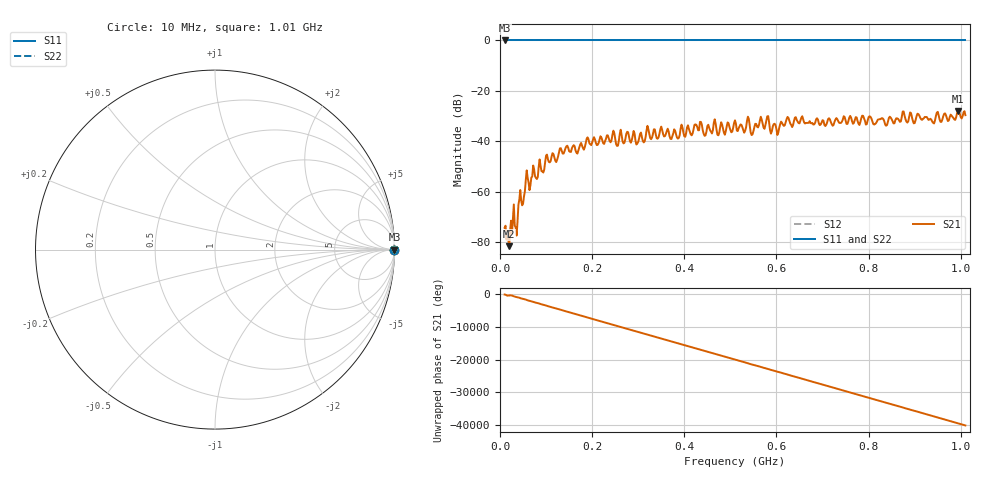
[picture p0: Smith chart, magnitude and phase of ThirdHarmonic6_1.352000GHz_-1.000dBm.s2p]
! 8/16/2025 3:13:42 PM
! C:\ANRITSUVNA\TEMP\TEMP.S2P
! CHANNEL.1
! TR.MEASUREMENT
! RAW.DATA
! RF.CORRECTION.OFF
! AVERAGING.OFF
! IF.BANDWIDTH: 5KHZ
! SWEEPTYPE:  FREQ.SWEEP(Linear)
! Reference Plane Port Info
! PORT:  PORT1  PORT2
! DISTANCE:  0  m  0  m
! TIME:  0  s  0  s
! PHASE.OFFSET:  0  deg.  0  deg.
! LOSS:  0  dB  0  dB
! REF.LOSS:  0  dB  0  dB
! REF.FREQ:  0  Hz  0  Hz
! Power Info
! POWER:  -20  dBm  -20  dBm
! EFF.POWER:  -20  dBm  -20  dBm
! SOURCE.ATTEN:  0  dB  0  dB
! TEST.ATTEN:  0  dB  0  dB
# GHZ S RI R 50.0
! FREQ.GHZ  S11RE  S11IM  S21RE  S21IM  S12RE  S12IM  S22RE  S22IM
!; PortSelection: Port_12
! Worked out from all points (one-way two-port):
!   501 points, 10 MHz to 1.01 GHz, reference 50 ohm
!   highest |S21| = -27.95 dB at 994 MHz (marker M1); lowest = -81.7 dB at 20 MHz (marker M2)
!   lowest |S11| = 0.0 dB at 10 MHz (marker M3)
!   |S11| at or under -10 dB: nowhere
!   |S22| runs from 0.0 to 0.0 dB; largest |S21 - S12| = 1
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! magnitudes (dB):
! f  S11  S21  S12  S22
! 10 MHz  0.0  -74.3  0.0  0.0
! 20 MHz  0.0  -81.7  0.0  0.0
! 26 MHz  0.0  -76.5  0.0  0.0
! 36 MHz  0.0  -77.4  0.0  0.0
! 42 MHz  0.0  -63.1  0.0  0.0
! 50 MHz  0.0  -64.8  0.0  0.0
! 58 MHz  0.0  -51.6  0.0  0.0
! 94 MHz  0.0  -52.4  0.0  0.0
! 102 MHz  0.0  -45.3  0.0  0.0
! 178 MHz  0.0  -41.7  0.0  0.0
! 344 MHz  0.0  -38.5  0.0  0.0
! 510 MHz  0.0  -31.7  0.0  0.0
! 530 MHz  0.0  -36.6  0.0  0.0
! 538 MHz  0.0  -30.3  0.0  0.0
! 548 MHz  0.0  -37.3  0.0  0.0
! 580 MHz  0.0  -30.1  0.0  0.0
! 602 MHz  0.0  -37.5  0.0  0.0
! 624 MHz  0.0  -30.4  0.0  0.0
! 678 MHz  0.0  -32.8  0.0  0.0
! 844 MHz  0.0  -30.8  0.0  0.0
! 994 MHz  0.0  -27.9  0.0  0.0
! 1.01 GHz  0.0  -29.7  0.0  0.0
